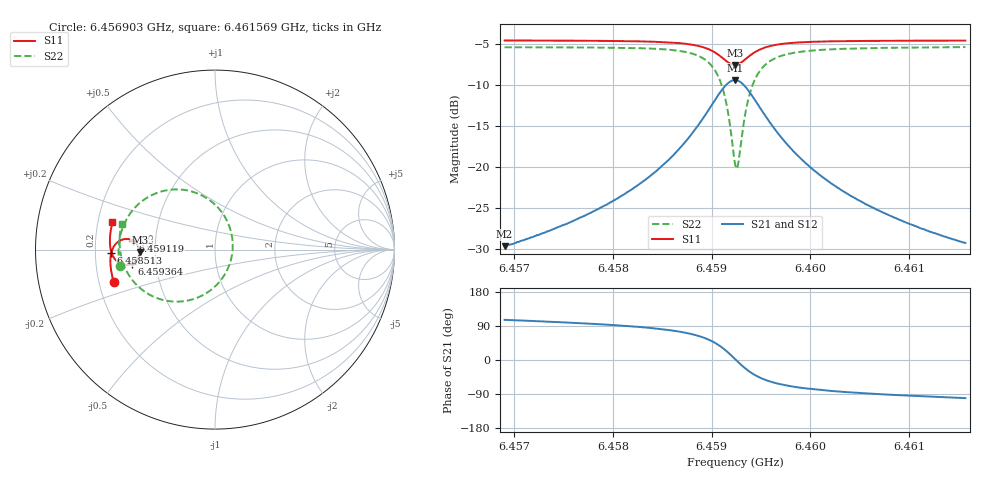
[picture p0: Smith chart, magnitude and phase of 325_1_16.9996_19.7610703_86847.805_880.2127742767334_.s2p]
#  HZ  S  RI  R  50.00
! Rohde & Schwarz Vector Network Analyzer
! Rohde-Schwarz,ZNB20-2Port,1311601062101988,3.16
! Created: UTC 3/20/2024, 11:06:40 PM
! freq[Hz]  re:S11  im:S11  re:S21  im:S21  re:S12  im:S12  re:S22  im:S22
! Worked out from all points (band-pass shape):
!   401 points, 6.456903 GHz to 6.461569 GHz, reference 50 ohm
!   highest |S21| = -9.37 dB at 6.459236 GHz (marker M1); lowest = -29.6 dB at 6.456903 GHz (marker M2)
!   |S21| within 3 dB of the highest: 6.459002 GHz to 6.459469 GHz (466.7 kHz wide, 0.00723 % of centre)
!   lowest |S11| = -7.5 dB at 6.459236 GHz (marker M3), VSWR 2.45, Z = 20.4 - j0.639 ohm
!   |S11| at or under -10 dB: nowhere
!   |S22| runs from -20.1 to -5.4 dB; largest |S21 - S12| = 0.013
!   S11 on the Smith chart (normalised r, x): 6.456903 GHz: 0.26, -0.14; 6.458513 GHz: 0.27, -0.02; 6.459119 GHz: 0.37, +0.05; 6.459364 GHz: 0.37, -0.07; 6.461569 GHz: 0.26, +0.12
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6.4569026e9  -0.5649 -0.178  -0.00911 0.0319  -0.00736 0.0317  -0.5307 -0.0903
6.4576842e9  -0.5797 -0.11  -0.00598 0.0495  -0.00349 0.0489  -0.5371 -8.15e-05
6.4581043e9  -0.583 -0.0683  -0.00047 0.068  0.0027 0.0667  -0.5302 0.0649
6.4584659e9  -0.5797 -0.0255  0.0133 0.0973  0.0173 0.0946  -0.5053 0.1442
6.4585126e9  -0.5783 -0.0192  0.0166 0.1026  0.0206 0.0997  -0.4992 0.1572
6.4587226e9  -0.5663 0.0128  0.0422 0.134  0.0463 0.1294  -0.4514 0.228
6.4588743e9  -0.5454 0.0391  0.0842 0.164  0.0875 0.1576  -0.3744 0.2917
6.4590259e9  -0.4998 0.059  0.1748 0.183  0.1758 0.1758  -0.2095 0.3354
6.4591193e9  -0.4556 0.0491  0.2635 0.1527  0.2638 0.1467  -0.0461 0.2866
6.4591659e9  -0.4347 0.0306  0.3065 0.1107  0.3078 0.1052  0.0352 0.2119
6.4592359e9  -0.4198 -0.0129  0.3395 0.0153  0.343 0.0082  0.0987 0.0359
6.4592476e9  -0.4203 -0.0208  0.3394 -0.00227  0.343 -0.0099  0.0984 0.00308
6.4592709e9  -0.4236 -0.0362  0.3339 -0.0364  0.3376 -0.0454  0.0876 -0.0613
6.4593293e9  -0.4442 -0.067  0.2965 -0.1074  0.2978 -0.1194  0.0122 -0.1938
6.4593643e9  -0.4608 -0.078  0.2647 -0.1359  0.2639 -0.1486  -0.0515 -0.2448
6.4594576e9  -0.5035 -0.0847  0.1817 -0.1667  0.1756 -0.1778  -0.2164 -0.2898
6.4596093e9  -0.547 -0.0644  0.0952 -0.1536  0.087 -0.1595  -0.3801 -0.242
6.4597726e9  -0.5683 -0.0368  0.051 -0.1263  0.0436 -0.1289  -0.459 -0.1715
6.4600176e9  -0.5811 -0.00134  0.0223 -0.0954  0.0166 -0.096  -0.5062 -0.0907
6.4603793e9  -0.5857 0.0412  0.006 -0.0685  0.00222 -0.0681  -0.5277 -0.0103
6.4607993e9  -0.5837 0.0831  -0.00138 -0.0509  -0.00412 -0.0502  -0.5315 0.0553
6.4615693e9  -0.5714 0.1511  -0.00639 -0.034  -0.008 -0.0331  -0.5201 0.145
